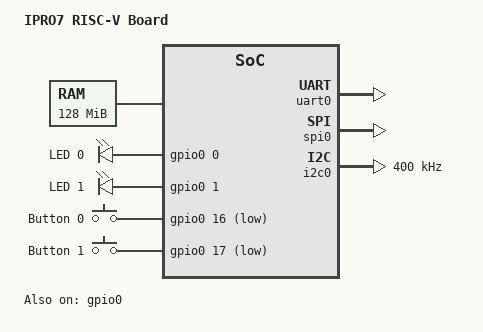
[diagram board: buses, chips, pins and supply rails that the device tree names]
/*
 * Copyright (c) 2025 IPRO
 * SPDX-License-Identifier: Apache-2.0
 */

/dts-v1/;

#include <dt-bindings/gpio/gpio.h>
/* Note: Using direct values instead of riscv-plic.h for compatibility */
#define PLIC_IRQ_PRIORITY_DEFAULT 1

/ {
	model = "IPRO7 RISC-V Board";
	compatible = "ipro,ipro7";

	#address-cells = <1>;
	#size-cells = <1>;

	aliases {
		uart0 = &uart0;
		gpio0 = &gpio0;
		spi0 = &spi0;
		i2c0 = &i2c0;
	};

	chosen {
		zephyr,console = &uart0;
		zephyr,shell-uart = &uart0;
		zephyr,sram = &sram0;
		zephyr,flash = &flash0;
	};

	cpus {
		#address-cells = <1>;
		#size-cells = <0>;

		cpu0: cpu@0 {
			device_type = "cpu";
			compatible = "riscv";
			reg = <0>;
			riscv,isa = "rv32imafc";
			mmu-type = "riscv,sv32";

			cpu0_intc: interrupt-controller {
				#interrupt-cells = <1>;
				interrupt-controller;
				compatible = "riscv,cpu-intc";
			};
		};
	};

	memory@80000000 {
		device_type = "memory";
		reg = <0x80000000 0x8000000>; /* 128MB */
	};

	sram0: sram@80000000 {
		compatible = "mmio-sram";
		reg = <0x80000000 0x8000000>; /* 128MB */
	};

	flash0: flash@80000000 {
		compatible = "soc-nv-flash";
		reg = <0x80000000 0x8000000>; /* 128MB */
	};

	soc {
		#address-cells = <1>;
		#size-cells = <1>;
		compatible = "simple-bus";
		ranges;

                plic: interrupt-controller@c000000 {
                        compatible = "sifive,plic-1.0.0";
                        reg = <0xc000000 0x1000>,     /* prio */
                              <0xc001000 0x1000>,     /* irq_en */  
                              <0xc200000 0x1000>;     /* reg */
                        reg-names = "prio", "irq_en", "reg";
                        #interrupt-cells = <2>;
                        interrupt-controller;
                        interrupts-extended = <&cpu0_intc 11>;
                        riscv,ndev = <127>;
                        riscv,max-priority = <7>;
                };

		uart0: serial@10000000 {
			compatible = "ns16550";
			reg = <0x10000000 0x1000>;
			interrupts = <10 PLIC_IRQ_PRIORITY_DEFAULT>;
			interrupt-parent = <&plic>;
			clock-frequency = <100000000>;
			reg-shift = <2>;
			status = "okay";
		};

		gpio0: gpio@10001000 {
			compatible = "sifive,gpio0";
			reg = <0x10001000 0x1000>;
			interrupts = <11 PLIC_IRQ_PRIORITY_DEFAULT>;
			interrupt-parent = <&plic>;
			gpio-controller;
			#gpio-cells = <2>;
			ngpios = <32>;
			status = "okay";
		};

		spi0: spi@10002000 {
			compatible = "sifive,spi0";
			reg = <0x10002000 0x1000>;
			interrupts = <12 PLIC_IRQ_PRIORITY_DEFAULT>;
			interrupt-parent = <&plic>;
			#address-cells = <1>;
			#size-cells = <0>;
			status = "okay";
		};

		i2c0: i2c@10003000 {
			compatible = "sifive,i2c0";
			reg = <0x10003000 0x1000>;
			interrupts = <13 PLIC_IRQ_PRIORITY_DEFAULT>;
			interrupt-parent = <&plic>;
			#address-cells = <1>;
			#size-cells = <0>;
			clock-frequency = <400000>;
			status = "okay";
		};
	};

	leds {
		compatible = "gpio-leds";
		led0: led_0 {
			gpios = <&gpio0 0 GPIO_ACTIVE_HIGH>;
			label = "LED 0";
		};
		led1: led_1 {
			gpios = <&gpio0 1 GPIO_ACTIVE_HIGH>;
			label = "LED 1";
		};
	};

	buttons {
		compatible = "gpio-keys";
		button0: button_0 {
			gpios = <&gpio0 16 (GPIO_PULL_UP | GPIO_ACTIVE_LOW)>;
			label = "Button 0";
		};
		button1: button_1 {
			gpios = <&gpio0 17 (GPIO_PULL_UP | GPIO_ACTIVE_LOW)>;
			label = "Button 1";
		};
	};
};
